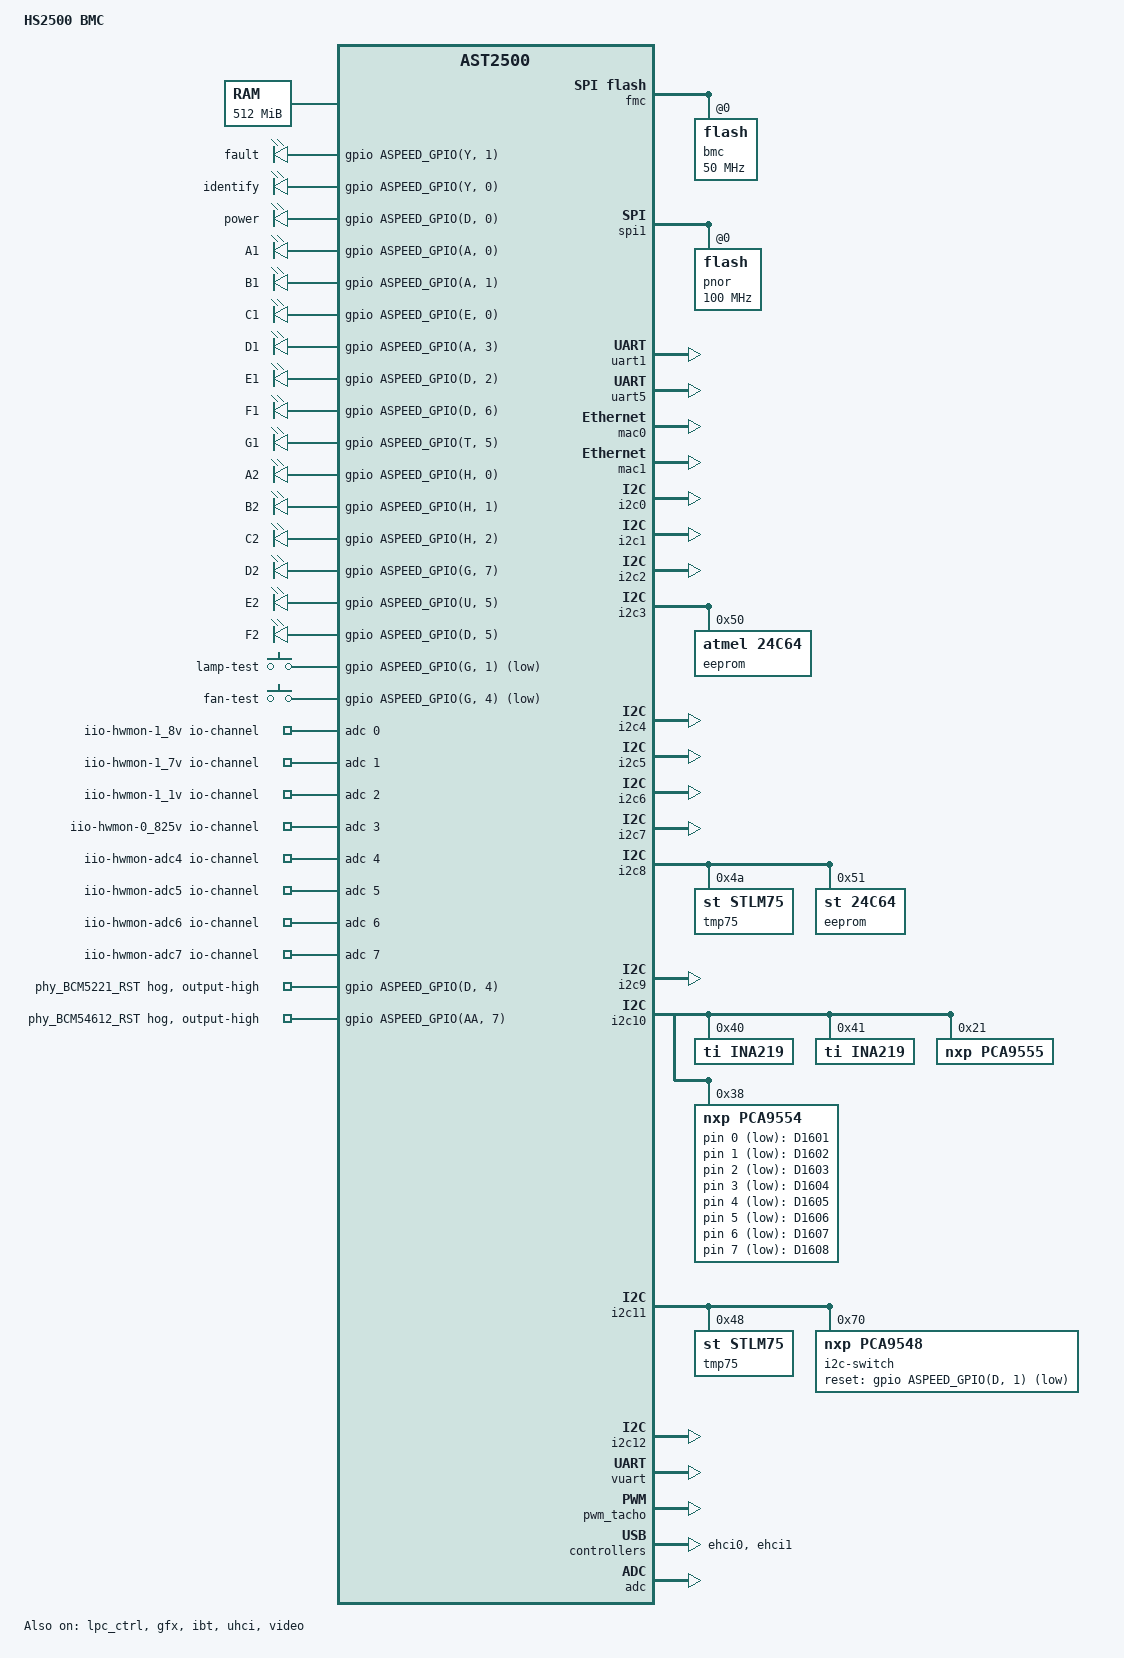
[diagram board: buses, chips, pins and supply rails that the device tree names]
// SPDX-License-Identifier: GPL-2.0+
/dts-v1/;
#include "aspeed-g5.dtsi"
#include <dt-bindings/gpio/aspeed-gpio.h>

/ {
	model = "HS2500 BMC";
	compatible = "hdsc,hs2500-bmc", "aspeed,ast2500";

	chosen {
		stdout-path = &uart5;
		bootargs = "console=ttyS4,115200 earlyprintk";
	};

	memory@80000000 {
		reg = <0x80000000 0x20000000>;
	};

	reserved-memory {
		#address-cells = <1>;
		#size-cells = <1>;
		ranges;

		vga_memory: framebuffer@9f000000 {
			no-map;
			reg = <0x9f000000 0x01000000>; /* 16M */
		};

		flash_memory: region@98000000 {
			no-map;
			reg = <0x98000000 0x02000000>; /* 32M */
		};
		
		gfx_memory: framebuffer {
			size = <0x01000000>;
			alignment = <0x01000000>;
			compatible = "shared-dma-pool";
			reusable;
		};

		video_engine_memory: jpegbuffer {
			size = <0x02000000>;	/* 32M */
			alignment = <0x01000000>;
			compatible = "shared-dma-pool";
			reusable;
		};
	};

	leds {
		compatible = "gpio-leds";

		fault {
			gpios = <&gpio ASPEED_GPIO(Y, 1) GPIO_ACTIVE_HIGH>;
		};

		identify {
			gpios = <&gpio ASPEED_GPIO(Y, 0) GPIO_ACTIVE_HIGH>;
		};

		power {
			gpios = <&gpio ASPEED_GPIO(D, 0) GPIO_ACTIVE_HIGH>;
		};

		A1 {
			gpios = <&gpio ASPEED_GPIO(A, 0) GPIO_ACTIVE_HIGH>;
		};

		B1 {
			gpios = <&gpio ASPEED_GPIO(A, 1) GPIO_ACTIVE_HIGH>;
		};

		C1 {
			// Pin mux with NCTS3
			gpios = <&gpio ASPEED_GPIO(E, 0) GPIO_ACTIVE_HIGH>;
		};

		D1 {
			gpios = <&gpio ASPEED_GPIO(A, 3) GPIO_ACTIVE_HIGH>;
		};

		E1 {
			gpios = <&gpio ASPEED_GPIO(D, 2) GPIO_ACTIVE_HIGH>;
		};

		F1 {
			gpios = <&gpio ASPEED_GPIO(D, 6) GPIO_ACTIVE_HIGH>;
		};
		
		/* Pin mux with RGMII1_TXD3 */
		G1 {
			gpios = <&gpio ASPEED_GPIO(T, 5) GPIO_ACTIVE_HIGH>;
		};

		A2 {
			gpios = <&gpio ASPEED_GPIO(H, 0) GPIO_ACTIVE_HIGH>;
		};

		B2 {
			gpios = <&gpio ASPEED_GPIO(H, 1) GPIO_ACTIVE_HIGH>;
		};

		C2 {
			gpios = <&gpio ASPEED_GPIO(H, 2) GPIO_ACTIVE_HIGH>;
		};

		D2 {
			gpios = <&gpio ASPEED_GPIO(G, 7) GPIO_ACTIVE_HIGH>;
		};

		/* Pin mux with RGMII1RXCTL */
		E2 {
			gpios = <&gpio ASPEED_GPIO(U, 5) GPIO_ACTIVE_HIGH>;
		};

		F2 {
			gpios = <&gpio ASPEED_GPIO(D, 5) GPIO_ACTIVE_HIGH>;
		};

                D1601 {
                       gpios = <&pca9554 0 GPIO_ACTIVE_LOW>;
                };

                D1602 {
                       gpios = <&pca9554 1 GPIO_ACTIVE_LOW>;
                };

                D1603 {
                       gpios = <&pca9554 2 GPIO_ACTIVE_LOW>;
                };

                D1604 {
                       gpios = <&pca9554 3 GPIO_ACTIVE_LOW>;
                };

                D1605 {
                       gpios = <&pca9554 4 GPIO_ACTIVE_LOW>;
                };

                D1606 {
                       gpios = <&pca9554 5 GPIO_ACTIVE_LOW>;
                };

                D1607 {
                       gpios = <&pca9554 6 GPIO_ACTIVE_LOW>;
                };

                D1608 {
                       gpios = <&pca9554 7 GPIO_ACTIVE_LOW>;
                };
	};

	gpio-keys {
		compatible = "gpio-keys";

		lamp-test {
			label = "lamp-test";
			gpios = <&gpio ASPEED_GPIO(G, 1) GPIO_ACTIVE_LOW>;
			linux,code = <ASPEED_GPIO(G, 1)>;
		};

		fan-test {
			label = "fan-test";
			gpios = <&gpio ASPEED_GPIO(G, 4) GPIO_ACTIVE_LOW>;
			linux,code = <ASPEED_GPIO(G, 4)>;
		};
	};

	iio-hwmon-1_8v {
		compatible = "iio-hwmon";
		io-channels = <&adc 0>;
	};

	iio-hwmon-1_7v {
		compatible = "iio-hwmon";
		io-channels = <&adc 1>;
	};

	iio-hwmon-1_1v {
		compatible = "iio-hwmon";
		io-channels = <&adc 2>;
	};

	iio-hwmon-0_825v {
		compatible = "iio-hwmon";
		io-channels = <&adc 3>;
	};

	iio-hwmon-adc4 {
		compatible = "iio-hwmon";
		io-channels = <&adc 4>;
	};

	iio-hwmon-adc5 {
		compatible = "iio-hwmon";
		io-channels = <&adc 5>;
	};

	iio-hwmon-adc6 {
		compatible = "iio-hwmon";
		io-channels = <&adc 6>;
	};

	iio-hwmon-adc7 {
		compatible = "iio-hwmon";
		io-channels = <&adc 7>;
	};
};

&fmc {
	status = "okay";
	flash@0 {
		status = "okay";
		m25p,fast-read;
		label = "bmc";
		spi-max-frequency = <50000000>;
#include "openbmc-flash-layout.dtsi"
	};
};

&spi1 {
	status = "okay";
	pinctrl-names = "default";
	pinctrl-0 = <&pinctrl_spi1_default>;

	flash@0 {
		status = "okay";
		m25p,fast-read;
		label = "pnor";
		spi-max-frequency = <100000000>;
	};
};

&lpc_ctrl {
	status = "okay";
	memory-region = <&flash_memory>;
	flash = <&spi1>;
};

&uart1 {
	/* Rear RS-232 connector */
	status = "okay";

	pinctrl-names = "default";
	pinctrl-0 = <&pinctrl_txd1_default
			&pinctrl_rxd1_default
			&pinctrl_nrts1_default
			&pinctrl_ndtr1_default
			&pinctrl_ndsr1_default
			&pinctrl_ncts1_default
			&pinctrl_ndcd1_default
			&pinctrl_nri1_default>;
};

&uart5 {
	status = "okay";
};

&mac0 {
	status = "okay";

    use-ncsi;
	pinctrl-names = "default";
	pinctrl-0 = <&pinctrl_rmii1_default &pinctrl_mdio1_default>;
};

&mac1 {
	status = "okay";

	pinctrl-names = "default";
	pinctrl-0 = <&pinctrl_rgmii2_default &pinctrl_mdio2_default>;
};

&i2c0 {
	status = "okay";
};

&i2c1 {
	status = "okay";
};

&i2c2 {
	status = "okay";
};

&i2c3 {
	status = "okay";

        eeprom@50 {
		compatible = "atmel,24c64";
		reg = <0x50>;
		pagesize = <32>;
	};
};

&i2c4 {
	status = "okay";
};

&i2c5 {
	status = "okay";
};

&i2c6 {
	status = "okay";
};

&i2c7 {
	status = "okay";
};

&i2c8 {
	status = "okay";

        tmp75@4a {
                 compatible = "st,stlm75";
                 reg = <0x4a>;
        };

        eeprom@51 {
		compatible = "st,24c64", "atmel,24c64";
		reg = <0x51>;
		pagesize = <32>;
	};
};

&i2c9 {
	status = "okay";
};

&i2c10 {
	status = "okay";

        ina219@40 {
                  compatible = "ti,ina219";
                  reg = <0x40>;
                  shunt-resistor = <2000>;
        };

        ina219@41 {
                  compatible = "ti,ina219";
                  reg = <0x41>;
                  shunt-resistor = <2000>;
        };

        pca9555@21 {
		compatible = "nxp,pca9555";
		reg = <0x21>;

		gpio-controller;
		#gpio-cells = <2>;
	};

        pca9554: pca9554@38 {
		compatible = "nxp,pca9554";
		reg = <0x38>;

		gpio-controller;
		#gpio-cells = <2>;
	};
};

&i2c11 {
	status = "okay";

        tmp75@48 {
                 compatible = "st,stlm75";
                 reg = <0x48>;
        };

        i2c-switch@70 {
		compatible = "nxp,pca9548";
		#address-cells = <1>;
		#size-cells = <0>;
		reg = <0x70>;
                reset-gpios = <&gpio ASPEED_GPIO(D, 1) GPIO_ACTIVE_LOW>;
        };
};

&i2c12 {
	status = "okay";
};

&gpio {
	BCM5221_RST {
		gpio-hog;
		gpios = <ASPEED_GPIO(D, 4) GPIO_ACTIVE_HIGH>;
		output-high;
		line-name = "phy_BCM5221_RST";
	};

    BCM54612_RST {
		gpio-hog;
		gpios = <ASPEED_GPIO(AA, 7) GPIO_ACTIVE_HIGH>;
		output-high;
		line-name = "phy_BCM54612_RST";
	};	
};

&vuart {
	status = "okay";
};

&gfx {
	status = "okay";
	memory-region = <&gfx_memory>;
};

&pinctrl {
	aspeed,external-nodes = <&gfx &lhc>;
};

&pwm_tacho {
	status = "okay";
	pinctrl-names = "default";
	pinctrl-0 = <&pinctrl_pwm0_default &pinctrl_pwm1_default
        &pinctrl_pwm2_default &pinctrl_pwm3_default>;

	fan@0 {
		reg = <0x00>;
		aspeed,fan-tach-ch = /bits/ 8 <0x00>;
	};

	fan@1 {
		reg = <0x01>;
		aspeed,fan-tach-ch = /bits/ 8 <0x01>;
	};

	fan@2 {
		reg = <0x02>;
		aspeed,fan-tach-ch = /bits/ 8 <0x02>;
	};

	fan@3 {
		reg = <0x03>;
		aspeed,fan-tach-ch = /bits/ 8 <0x03>;
	};
};

&ibt {
	status = "okay";
};

&ehci0 {
	status = "okay";
};

&ehci1 {
	status = "okay";
};

&uhci {
	status = "okay";
};

&adc {
	status = "okay";
};

&video {
	status = "okay";
	memory-region = <&video_engine_memory>;
};
